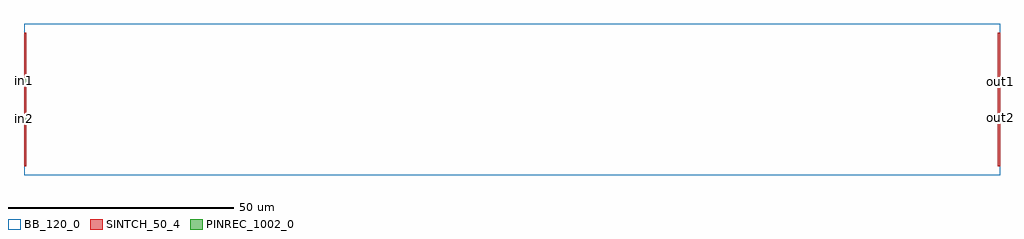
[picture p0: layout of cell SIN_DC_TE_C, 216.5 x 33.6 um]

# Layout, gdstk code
import gdstk
lib = gdstk.Library(unit=1e-6, precision=1e-09)
def R(c, l, rs):  # rectangles x0, y0, x1, y1
    for r in rs: c.add(gdstk.rectangle(r[:2], r[2:], *l))
SINTCH_50_4 = (50, 4)
BB_120_0 = (120, 0)
PINREC_1002_0 = (1002, 0)

sin_dc_te_c = lib.new_cell('SIN_DC_TE_C')
R(sin_dc_te_c, SINTCH_50_4, [(0,2,0.5,12), (216,2,216.5,12), (0,13.5,0.5,20.099), (216,13.5,216.5,20.099), (0,21.599,0.5,31.599), (216,21.599,216.5,31.599)])
R(sin_dc_te_c, BB_120_0, [(0,0,216.5,33.599)])
R(sin_dc_te_c, PINREC_1002_0, [(0,12,0.5,13.5), (216,12,216.5,13.5), (0,20.099,0.5,21.599), (216,20.099,216.5,21.599)])
sin_dc_te_c.add(gdstk.Label('out2', (216.5,12.782), layer=1000, texttype=0))
sin_dc_te_c.add(gdstk.Label('out1', (216.5,20.723), layer=1000, texttype=0))
sin_dc_te_c.add(gdstk.Label('in2', (0,12.678), layer=1000, texttype=0))
sin_dc_te_c.add(gdstk.Label('in1', (0,20.935), layer=1000, texttype=0))

lib.write_gds('SIN_DC_TE_C.gds')
